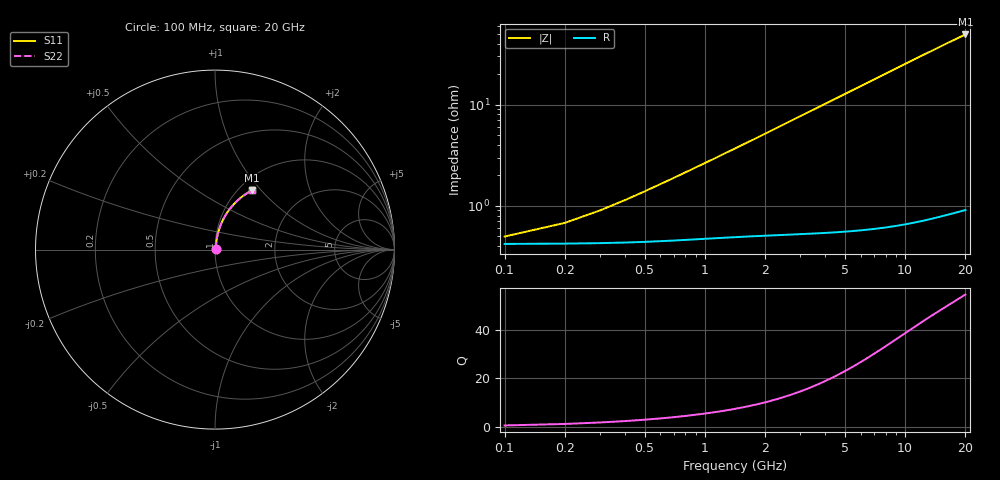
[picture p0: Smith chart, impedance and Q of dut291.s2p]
! Touchstone file exported from HFSS 2026.1.0
!  File:  C:/ffzhzh/LocalFiles/Ansys_Project_Files/temp_train_TMRDL_291_1782985513_42984.aedt
!  Generated:  05:46:28 PM Jul  2, 2026
!  Design:  TMRDL
!  Project:  temp_train_TMRDL_291_1782985513_42984
! Variables:
!  h_bsmrdl = 2um
!  h_ox = 20um
!  h_rdl = 5um
!  h_sub = 80um
!  h_tmrdl = 2.04um
!  h_tsv = 80um
!  h_via = 3um
!  l_bsmrdl = 300um
!  l_sub = 727.64um
!  l_tmrdl = 327.64um
!  m_sub = 200um
!  pitch = 59.35um
!  r_tsv = 6um
!  s_tmrdl = 10um
!  w_bsmrdl = 18um
!  w_sub = 500um
!  w_tmrdl = 14.55um
!  x_tsv_center1 = 334.915um
!  x_tsv_center2 = 652.915um
!  x_tsv_center3 = 995.105um
!  x_tsv_center4 = 1313.105um
!  x_tsv_center5 = 1655.295um
!  x_tsv_center6 = 1973.295um
# GHz S MA R 50.000000
! Terminal data exported
! Port[1] = TM_RDL1_1_T1
! Port[2] = TM_RDL1_1_T2
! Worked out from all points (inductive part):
!   200 points, 100 MHz to 20 GHz, reference 50 ohm
!   read as one part in series: L = 415 pH near 600 MHz
!   highest Q = 54.5 at 20 GHz (marker M1), where L = 394 pH
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0.1  0.004772 28.7  0.9958 -0.2  0.9958 -0.2  0.004772 28.7
! Gamma 0 0 0 0
! Port Impedance 50 0 50 0
0.3  0.008095 57.8  0.9957 -0.5  0.9957 -0.5  0.008095 57.8
0.4  0.01012 64.1  0.9956 -0.7  0.9956 -0.7  0.01012 64.1
0.5  0.01223 68.2  0.9956 -0.8  0.9956 -0.8  0.01223 68.2
0.6  0.01436 71.0  0.9955 -1.0  0.9955 -1.0  0.01436 71.0
0.7  0.01651 73.0  0.9954 -1.2  0.9954 -1.2  0.01651 73.0
0.9  0.02083 75.6  0.9952 -1.5  0.9952 -1.5  0.02083 75.6
1.2  0.02732 77.9  0.9949 -2.0  0.9949 -2.0  0.02732 77.9
1.4  0.03165 78.8  0.9946 -2.3  0.9946 -2.3  0.03165 78.8
1.7  0.03814 79.7  0.9943 -2.8  0.9943 -2.8  0.03814 79.7
2.2  0.04897 80.4  0.9937 -3.6  0.9937 -3.6  0.04897 80.4
2.8  0.06197 80.6  0.9929 -4.6  0.9929 -4.6  0.06197 80.6
3.5  0.07712 80.3  0.9918 -5.8  0.9918 -5.8  0.07712 80.3
4.2  0.09222 79.7  0.9904 -6.9  0.9904 -6.9  0.09222 79.7
5  0.1094 78.9  0.9885 -8.2  0.9885 -8.2  0.1094 78.9
5.9  0.1285 77.8  0.9861 -9.7  0.9861 -9.7  0.1285 77.8
6.8  0.1475 76.6  0.9833 -11.1  0.9833 -11.1  0.1475 76.6
8.3  0.1786 74.5  0.9779 -13.5  0.9779 -13.5  0.1786 74.5
10.1  0.2149 71.9  0.9703 -16.4  0.9703 -16.4  0.2149 71.9
13.4  0.2783 67.1  0.9534 -21.4  0.9534 -21.4  0.2783 67.1
16.7  0.337 62.4  0.9338 -26.3  0.9338 -26.3  0.337 62.4
20  0.3907 57.9  0.9122 -30.9  0.9122 -30.9  0.3906 57.9
